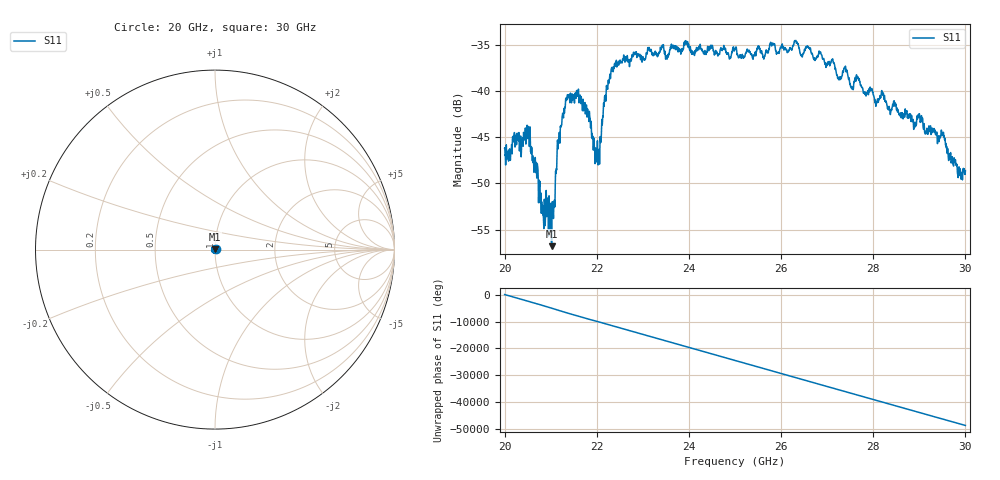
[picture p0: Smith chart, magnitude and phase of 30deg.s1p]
#  HZ  S  RI  R  50.00
! Rohde & Schwarz ZVA40 4Ports - Version 3.90 - 1145.1110k42 SN: 100403
! Date: 2023-10-03 12:49:23
! Measurement: S12
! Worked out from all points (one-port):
!   5001 points, 20 GHz to 30 GHz, reference 50 ohm
!   lowest |S11| = -56.8 dB at 21.02 GHz (marker M1), VSWR 1.00, Z = 50.1 + j0.0663 ohm
!   |S11| at or under -10 dB: start of sweep to end of sweep
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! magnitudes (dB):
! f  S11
! 20 GHz  -46.2
! 20.51 GHz  -43.9
! 20.84 GHz  -53.3
! 21.02 GHz  -56.8
! 21.06 GHz  -53.1
! 21.18 GHz  -44.8
! 21.25 GHz  -42.7
! 21.36 GHz  -40.7
! 21.59 GHz  -40.3
! 21.81 GHz  -42.6
! 22.01 GHz  -45.4
! 22.26 GHz  -39.1
! 22.5 GHz  -36.8
! 23.75 GHz  -35.3
! 25 GHz  -35.5
! 26.25 GHz  -35.1
! 27.11 GHz  -36.6
! 27.26 GHz  -38.4
! 27.39 GHz  -37.4
! 27.5 GHz  -39.2
! 27.65 GHz  -38.4
! 28.06 GHz  -41.2
! 28.2 GHz  -40.2
! 28.35 GHz  -41.9
! 28.75 GHz  -42.5
! 29.51 GHz  -44.7
! 29.87 GHz  -48.9
! 30 GHz  -48.6
